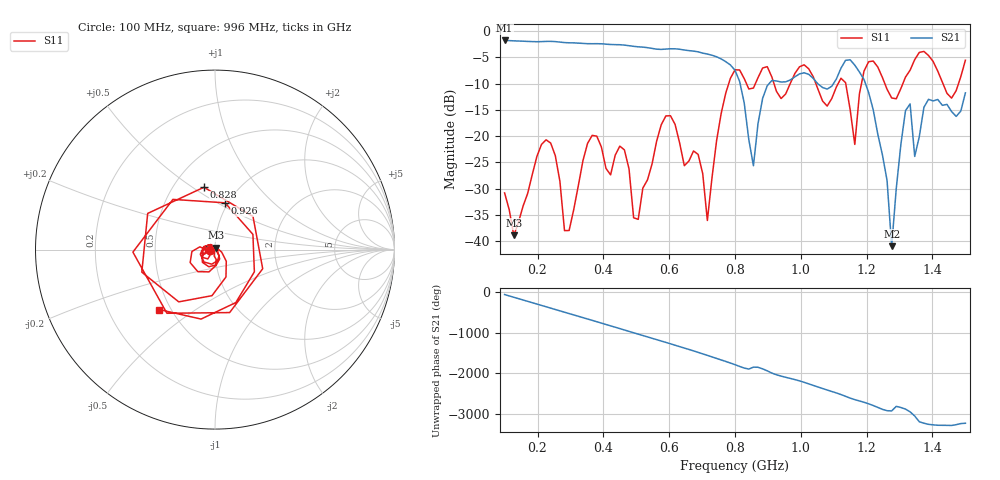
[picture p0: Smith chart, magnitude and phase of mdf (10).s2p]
! NanoVNA-App
! Date: 2025-09-25 15:38:30
! Start: 100MHz Stop: 1,5GHz Points: 101
! S-Parameter data: F S11 S21 S12 S22
# Hz S RI R 50
!  Frequency  S11_Real  S11_Imag  S21_Real  S21_Imag  S12_Real  S12_Imag  S22_Real  S22_Imag
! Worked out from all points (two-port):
!   101 points, 100 MHz to 1.5 GHz, reference 50 ohm
!   highest |S21| = -1.80 dB at 100 MHz (marker M1); lowest = -40.9 dB at 1.276 GHz (marker M2)
!   |S21| within 3 dB of the highest: start of sweep to 739.2 MHz
!   lowest |S11| = -38.9 dB at 128 MHz (marker M3), VSWR 1.02, Z = 50.4 + j1.08 ohm
!   |S11| at or under -10 dB: start of sweep to 781 MHz; 1.046 GHz to 1.114 GHz (67.96 MHz wide, 6.29 % of centre); 1.255 GHz to 1.31 GHz (54.97 MHz wide, 4.29 % of centre) (the widest 3 of 7)
!   S12 and S22 are empty: the file has one direction only
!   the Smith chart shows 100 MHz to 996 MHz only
!   S11 on the Smith chart (normalised r, x): 100 MHz: 0.94, -0.01; 828 MHz: 0.70, +0.56; 926 MHz: 0.97, +0.54; 996 MHz: 0.43, -0.37
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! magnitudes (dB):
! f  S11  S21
! 100 MHz  -30.8  -1.8
! 128 MHz  -38.9  -1.9
! 212 MHz  -21.6  -2.0
! 282 MHz  -38.0  -2.2
! 338 MHz  -24.7  -2.4
! 464 MHz  -22.6  -2.7
! 506 MHz  -35.8  -3.0
! 576 MHz  -17.8  -3.5
! 688 MHz  -23.5  -4.0
! 716 MHz  -36.0  -4.4
! 800 MHz  -7.4  -7.5
! 828 MHz  -9.1  -13.7
! 856 MHz  -10.9  -25.6
! 926 MHz  -11.5  -9.5
! 996 MHz  -6.8  -8.2
! 1.038 GHz  -8.7  -9.0
! 1.164 GHz  -21.6  -6.5
! 1.192 GHz  -7.6  -9.2
! 1.276 GHz  -12.7  -40.9
! 1.318 GHz  -8.8  -15.2
! 1.346 GHz  -5.5  -23.9
! 1.5 GHz  -5.6  -11.8
